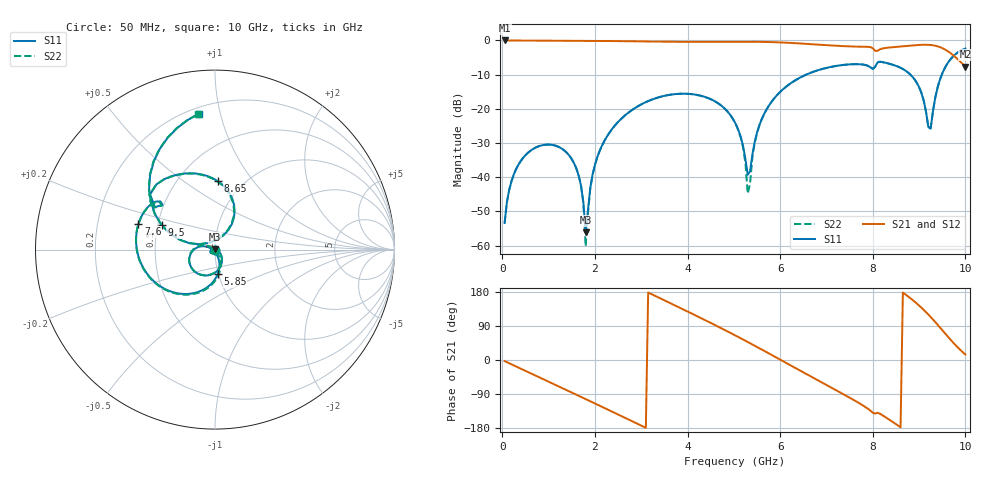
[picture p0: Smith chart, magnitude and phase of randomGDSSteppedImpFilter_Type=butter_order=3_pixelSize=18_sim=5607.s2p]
! freq	dB(S11)	phase(S11)	dB(S12)	phase(S12)
!  dB(S21)	phase(S21)	dB(S22)	phase(S22)
!S-par simulation data
#  GHz  S  DB  R 50
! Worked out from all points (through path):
!   200 points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, 50 MHz to 10 GHz, reference 50 ohm
!   highest |S21| = -0.01 dB at 50 MHz (marker M1); lowest = -7.6 dB at 10 GHz (marker M2)
!   group delay of S21, straight-line fit = 183 ps
!   lowest |S11| = -56.1 dB at 1.8 GHz (marker M3), VSWR 1.00, Z = 50 + j0.152 ohm
!   |S11| at or under -10 dB: start of sweep to 6.562 GHz; 8.813 GHz to 9.491 GHz (678.6 MHz wide, 7.41 % of centre)
!   |S22| runs from -60.2 to -2.4 dB; largest |S21 - S12| = 0
!   S11 on the Smith chart (normalised r, x): 50 MHz: 1.00, -0.00; 5.85 GHz: 0.99, -0.27; 7.6 GHz: 0.39, +0.14; 8.65 GHz: 0.77, +0.68; 9.5 GHz: 0.52, +0.16; 10 GHz: 0.24, +0.86
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0.05  -53.39 -88.7  -0.01 -2.9  -0.01 -2.9  -53.39 -88.7
0.3  -37.57 -104.5  -0.03 -17.2  -0.03 -17.2  -37.57 -104.4
0.85  -30.68 -138.7  -0.06 -48.6  -0.06 -48.6  -30.67 -138.2
1.45  -33.72 -175.7  -0.10 -82.9  -0.10 -82.9  -33.71 -173.8
1.75  -47.24 152.5  -0.12 -100.2  -0.12 -100.2  -47.50 166.2
1.8  -56.11 103.5  -0.13 -103.1  -0.13 -103.1  -60.16 134.9
1.9  -43.11 -8.0  -0.13 -108.9  -0.13 -108.9  -43.34 -17.5
2.15  -30.83 -30.6  -0.15 -123.4  -0.15 -123.4  -30.86 -33.5
3.4  -16.54 -105.6  -0.35 163.4  -0.35 163.4  -16.55 -106.8
4.3  -16.21 -157.8  -0.43 110.0  -0.43 110.0  -16.23 -159.5
5.05  -24.66 162.2  -0.38 63.6  -0.38 63.6  -24.78 156.4
5.2  -30.90 162.9  -0.37 54.0  -0.37 54.0  -31.38 150.5
5.3  -39.27 -156.8  -0.38 47.5  -0.38 47.5  -44.78 -178.5
5.5  -26.96 -68.5  -0.40 34.4  -0.40 34.4  -27.12 -60.1
5.85  -17.30 -83.5  -0.50 11.1  -0.50 11.1  -17.31 -80.6
6.7  -9.25 -138.4  -1.12 -45.9  -1.12 -45.9  -9.25 -137.2
7.6  -6.94 161.4  -1.79 -106.3  -1.79 -106.3  -6.94 162.3
8.35  -6.79 112.3  -2.08 -156.9  -2.08 -156.9  -6.79 113.0
8.65  -8.36 87.7  -1.72 178.0  -1.72 178.0  -8.36 88.5
9.25  -25.81 134.9  -1.33 113.6  -1.33 113.6  -25.57 134.7
9.5  -9.68 155.2  -2.24 78.9  -2.24 78.9  -9.67 155.4
10  -2.37 96.7  -7.64 14.5  -7.64 14.5  -2.37 97.1
